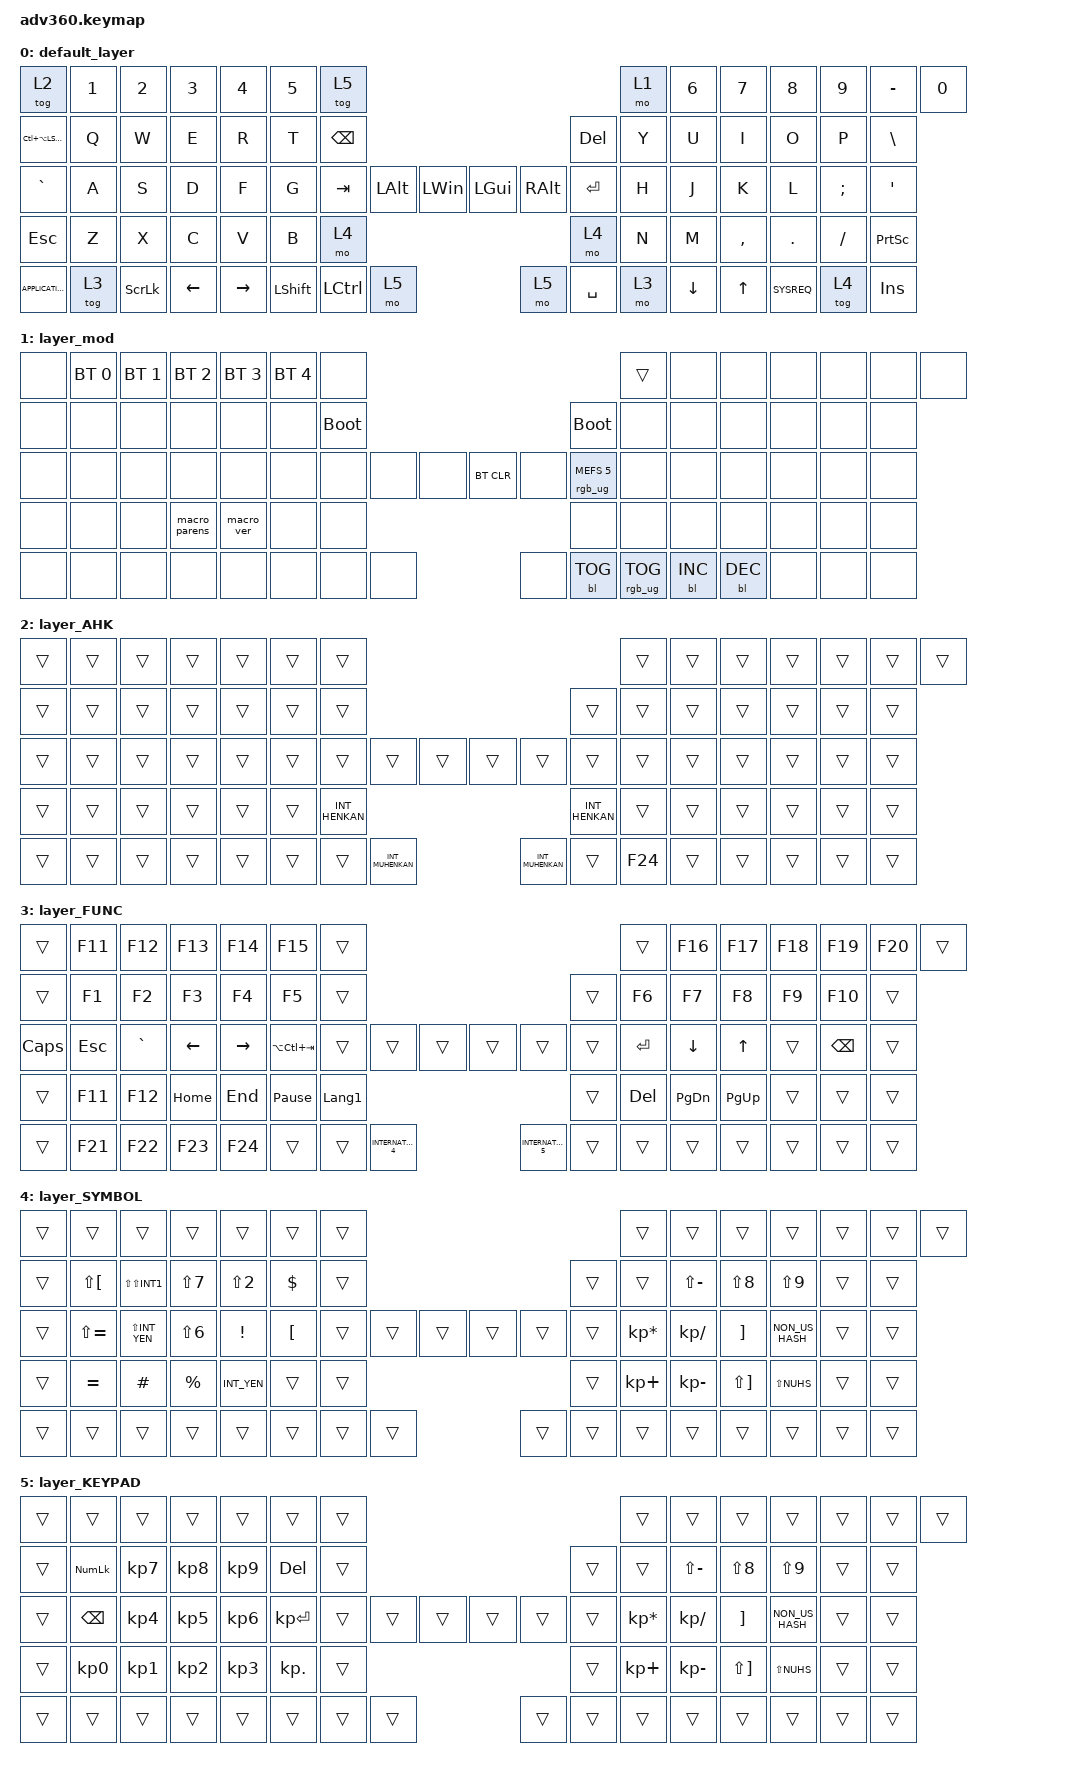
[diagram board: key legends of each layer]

/*
 * Copyright (c) 2020 The ZMK Contributors
 *
 * SPDX-License-Identifier: MIT
 */


/* THIS FILE WAS GENERATED!
 *
 * This file was generated automatically. You may or may not want to
 * edit it directly.
 */

#include <behaviors.dtsi>
#include <dt-bindings/zmk/keys.h>
#include <dt-bindings/zmk/bt.h>
#include <dt-bindings/zmk/rgb.h>
#include <dt-bindings/zmk/backlight.h>

/ {
  behaviors {
    #include "macros.dtsi"
    #include "version.dtsi"

    hm: homerow_mods {
        compatible = "zmk,behavior-hold-tap";
        label = "HOMEROW_MODS";
        #binding-cells = <2>;
        tapping-term-ms = <200>;
        quick_tap_ms = <175>;
        flavor = "tap-preferred";
        bindings = <&kp>, <&kp>;
    };
  };

    keymap {
        compatible = "zmk,keymap";


        default_layer {
            bindings = <
             &tog 2  &kp N1          &kp N2    &kp N3     &kp N4  &kp N5                    &tog 5                                                                        &mo 1  &kp N6    &kp N7     &kp N8      &kp N9  &kp MINUS           &kp N0
 &kp LC(LA(LSHIFT))   &kp Q           &kp W     &kp E      &kp R   &kp T             &kp BACKSPACE                                                                   &kp DELETE   &kp Y     &kp U      &kp I       &kp O      &kp P         &kp BSLH
          &kp GRAVE   &kp A           &kp S     &kp D      &kp F   &kp G                   &kp TAB          &kp LALT  &kp LWIN                  &kp LGUI   &kp RALT   &kp ENTER   &kp H     &kp J      &kp K       &kp L   &kp SEMI          &kp SQT
            &kp ESC   &kp Z           &kp X     &kp C      &kp V   &kp B                                                 &mo 4                     &mo 4                          &kp N     &kp M  &kp COMMA     &kp DOT   &kp FSLH  &kp PRINTSCREEN
  &kp K_APPLICATION  &tog 3  &kp SCROLLLOCK  &kp LEFT  &kp RIGHT                    &kp LEFT_SHIFT  &kp LEFT_CONTROL     &mo 5                     &mo 5  &kp SPACE       &mo 3          &kp DOWN     &kp UP  &kp SYSREQ     &tog 4       &kp INSERT
            >;
        };

        layer_mod {
            bindings = <
  &none  &bt BT_SEL 0  &bt BT_SEL 1   &bt BT_SEL 2  &bt BT_SEL 3  &bt BT_SEL 4                  &none                                                                          &trans   &none       &none       &none   &none   &none   &none
  &none         &none         &none          &none         &none         &none            &bootloader                                                                     &bootloader   &none       &none       &none   &none   &none   &none
  &none         &none         &none          &none         &none         &none                  &none   &none   &none                  &bt BT_CLR       &none  &rgb_ug RGB_MEFS_CMD 5   &none       &none       &none   &none   &none   &none
  &none         &none         &none  &macro_parens    &macro_ver         &none                                  &none                       &none                                       &none       &none       &none   &none   &none   &none
  &none         &none         &none          &none         &none                                &none   &none   &none                       &none  &bl BL_TOG         &rgb_ug RGB_TOG          &bl BL_INC  &bl BL_DEC   &none   &none   &none
            >;
        };

        layer_AHK {
            bindings = <
 &trans  &trans  &trans  &trans  &trans  &trans            &trans                                                                       &trans  &trans  &trans  &trans  &trans  &trans  &trans
 &trans  &trans  &trans  &trans  &trans  &trans            &trans                                                                       &trans  &trans  &trans  &trans  &trans  &trans  &trans
 &trans  &trans  &trans  &trans  &trans  &trans            &trans  &trans            &trans                            &trans  &trans   &trans  &trans  &trans  &trans  &trans  &trans  &trans
 &trans  &trans  &trans  &trans  &trans  &trans                              &kp INT_HENKAN                    &kp INT_HENKAN                   &trans  &trans  &trans  &trans  &trans  &trans
 &trans  &trans  &trans  &trans  &trans                    &trans  &trans  &kp INT_MUHENKAN                  &kp INT_MUHENKAN  &trans  &kp F24          &trans  &trans  &trans  &trans  &trans
            >;
        };

        layer_FUNC {
            bindings = <
   &trans     &kp F11    &kp F12   &kp F13    &kp F14          &kp F15            &trans                                                                            &trans    &kp F16    &kp F17    &kp F18  &kp F19        &kp F20  &trans
   &trans      &kp F1     &kp F2    &kp F3     &kp F4           &kp F5            &trans                                                                            &trans     &kp F6     &kp F7     &kp F8   &kp F9        &kp F10  &trans
 &kp CAPS  &kp ESCAPE  &kp GRAVE  &kp LEFT  &kp RIGHT  &kp LA(LC(TAB))            &trans  &trans               &trans                               &trans  &trans  &trans  &kp ENTER   &kp DOWN     &kp UP   &trans  &kp BACKSPACE  &trans
   &trans     &kp F11    &kp F12  &kp HOME    &kp END  &kp PAUSE_BREAK                                 &kp LANGUAGE_1                               &trans                    &kp DEL  &kp PG_DN  &kp PG_UP   &trans         &trans  &trans
   &trans     &kp F21    &kp F22   &kp F23    &kp F24                             &trans  &trans  &kp INTERNATIONAL_4                  &kp INTERNATIONAL_5  &trans  &trans                &trans     &trans   &trans         &trans  &trans
            >;
        };

        layer_SYMBOL {
            bindings = <
 &trans         &trans            &trans       &trans       &trans            &trans            &trans                                                  &trans           &trans         &trans             &trans           &trans  &trans  &trans
 &trans   &kp LS(LBKT)  &kp LS(LS(INT1))   &kp LS(N7)   &kp LS(N2)          &kp DLLR            &trans                                                  &trans           &trans  &kp LS(MINUS)         &kp LS(N8)       &kp LS(N9)  &trans  &trans
 &trans  &kp LS(EQUAL)   &kp LS(INT_YEN)   &kp LS(N6)     &kp EXCL  &kp LEFT_BRACKET            &trans  &trans  &trans                  &trans  &trans  &trans  &kp KP_ASTERISK   &kp KP_SLASH  &kp RIGHT_BRACKET  &kp NON_US_HASH  &trans  &trans
 &trans      &kp EQUAL          &kp HASH  &kp PERCENT  &kp INT_YEN            &trans                            &trans                  &trans                      &kp KP_PLUS   &kp KP_MINUS       &kp LS(RBKT)     &kp LS(NUHS)  &trans  &trans
 &trans         &trans            &trans       &trans       &trans                              &trans  &trans  &trans                  &trans  &trans  &trans                          &trans             &trans           &trans  &trans  &trans
            >;
        };

        layer_KEYPAD {
            bindings = <
 &trans          &trans     &trans     &trans     &trans        &trans            &trans                                                  &trans           &trans         &trans             &trans           &trans  &trans  &trans
 &trans  &kp KP_NUMLOCK  &kp KP_N7  &kp KP_N8  &kp KP_N9       &kp DEL            &trans                                                  &trans           &trans  &kp LS(MINUS)         &kp LS(N8)       &kp LS(N9)  &trans  &trans
 &trans   &kp BACKSPACE  &kp KP_N4  &kp KP_N5  &kp KP_N6  &kp KP_ENTER            &trans  &trans  &trans                  &trans  &trans  &trans  &kp KP_ASTERISK  &kp KP_DIVIDE  &kp RIGHT_BRACKET  &kp NON_US_HASH  &trans  &trans
 &trans       &kp KP_N0  &kp KP_N1  &kp KP_N2  &kp KP_N3    &kp KP_DOT                            &trans                  &trans                      &kp KP_PLUS   &kp KP_MINUS       &kp LS(RBKT)     &kp LS(NUHS)  &trans  &trans
 &trans          &trans     &trans     &trans     &trans                          &trans  &trans  &trans                  &trans  &trans  &trans                          &trans             &trans           &trans  &trans  &trans
            >;
        };

    };
};
